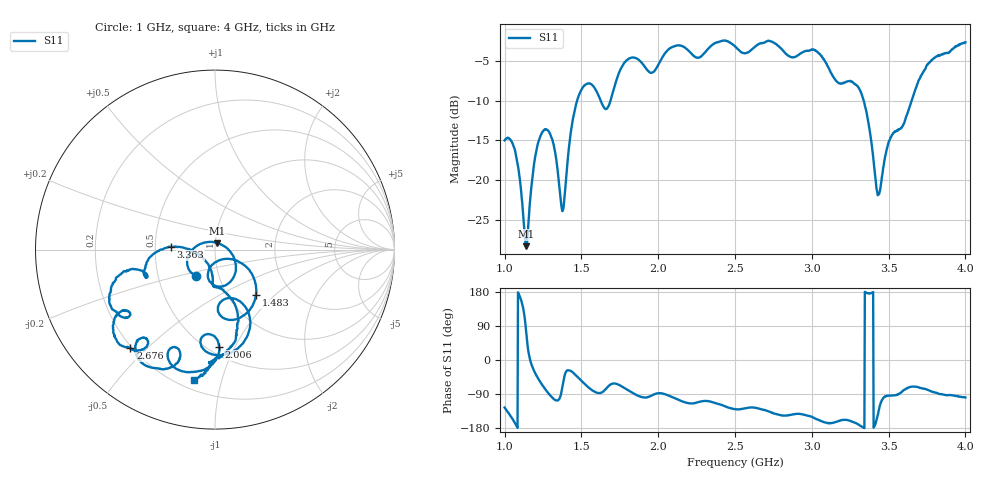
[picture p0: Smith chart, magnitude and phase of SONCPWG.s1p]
# MHz S MA R 50
!  freq  S11
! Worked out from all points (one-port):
!   1000 points, 1 GHz to 4 GHz, reference 50 ohm
!   lowest |S11| = -28.3 dB at 1.141 GHz (marker M1), VSWR 1.08, Z = 51.1 + j3.76 ohm
!   |S11| at or under -10 dB: start of sweep to 1.472 GHz; 1.625 GHz to 1.689 GHz (64.23 MHz wide, 3.88 % of centre); 3.338 GHz to 3.65 GHz (312.3 MHz wide, 8.94 % of centre)
!   S11 on the Smith chart (normalised r, x): 1 GHz: 0.78, -0.23; 1.483 GHz: 1.34, -0.77; 2.006 GHz: 0.56, -0.87; 2.676 GHz: 0.19, -0.45; 3.363 GHz: 0.60, +0.02; 4 GHz: 0.26, -0.82
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1000  0.1781 -125.5
1072.072  0.1469 -169.8
1141.141  0.03868 71.6
1201.201  0.144 -36.2
1255.255  0.2062 -71.6
1315.315  0.1726 -101.4
1375.375  0.06418 -73.5
1438.438  0.2234 -30.7
1483.483  0.3412 -48.0
1612.613  0.3383 -87.2
1669.67  0.2848 -71.8
1750.751  0.4873 -66.9
1894.895  0.5436 -98.0
2006.006  0.5431 -87.6
2126.126  0.7016 -103.9
2309.309  0.6409 -107.8
2501.502  0.6902 -129.7
2675.676  0.7241 -130.6
2876.877  0.5902 -143.6
3030.03  0.6439 -156.2
3114.114  0.497 -166.2
3252.252  0.4199 -161.1
3363.363  0.2472 176.3
3435.435  0.08165 -133.5
3504.505  0.1768 -93.9
3627.628  0.2712 -72.9
3762.763  0.5456 -80.1
4000  0.7337 -99.0
